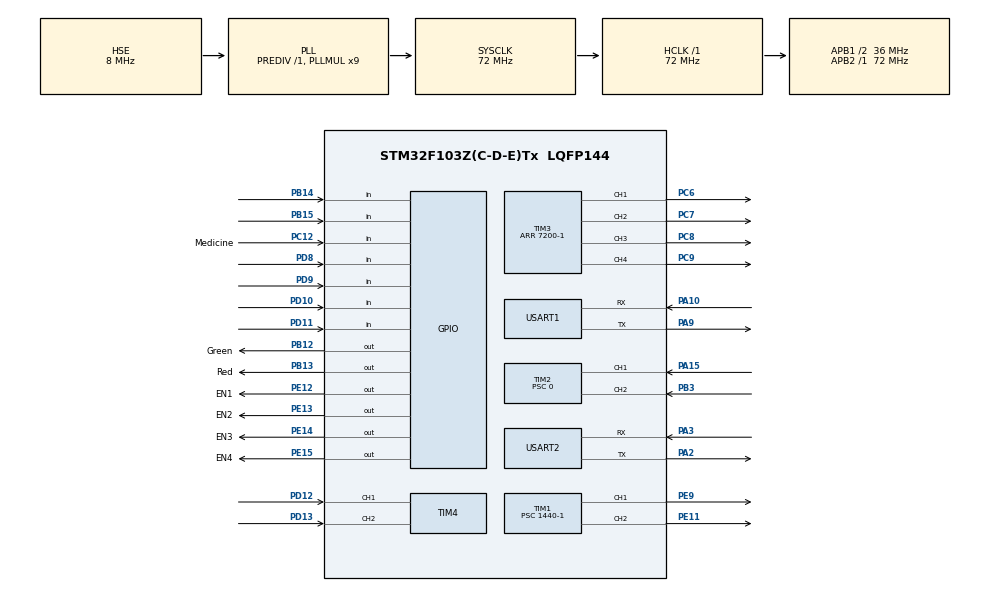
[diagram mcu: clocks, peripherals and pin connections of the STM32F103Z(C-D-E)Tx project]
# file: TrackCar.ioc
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Mcu.Family=STM32F1
Mcu.Name=STM32F103Z(C-D-E)Tx
Mcu.Package=LQFP144
NVIC.PriorityGroup=NVIC_PRIORITYGROUP_4
NVIC.TIM6_IRQn=true\:1\:0\:true\:false\:true\:true\:true
NVIC.USART2_IRQn=true\:0\:0\:false\:false\:true\:true\:true
OSC_IN.Mode=HSE-External-Oscillator
OSC_IN.Signal=RCC_OSC_IN
OSC_OUT.Mode=HSE-External-Oscillator
OSC_OUT.Signal=RCC_OSC_OUT
PA10.Mode=Asynchronous
PA10.Signal=USART1_RX
PA13.Mode=Serial_Wire
PA13.Signal=SYS_JTMS-SWDIO
PA14.Mode=Serial_Wire
PA14.Signal=SYS_JTCK-SWCLK
PA15.Signal=S_TIM2_CH1_ETR
PA2.Mode=Asynchronous
PA2.Signal=USART2_TX
PA3.Mode=Asynchronous
PA3.Signal=USART2_RX
PA9.Mode=Asynchronous
PA9.Signal=USART1_TX
PB12.GPIO_Label=Green
PB12.GPIO_Speed=GPIO_SPEED_FREQ_LOW
PB12.PinState=GPIO_PIN_SET
PB12.Signal=GPIO_Output
PB13.GPIO_Label=Red
PB13.PinState=GPIO_PIN_SET
PB13.Signal=GPIO_Output
PB14.Signal=GPIO_Input
PB15.Signal=GPIO_Input
PB3.Signal=S_TIM2_CH2
PC12.GPIO_Label=Medicine
PC12.Signal=GPIO_Input
PC14-OSC32_IN.Mode=LSE-External-Oscillator
PC14-OSC32_IN.Signal=RCC_OSC32_IN
PC15-OSC32_OUT.Mode=LSE-External-Oscillator
PC15-OSC32_OUT.Signal=RCC_OSC32_OUT
PC6.Signal=S_TIM3_CH1
PC7.Signal=S_TIM3_CH2
PC8.Signal=S_TIM3_CH3
PC9.Signal=S_TIM3_CH4
PD10.Signal=GPIO_Input
PD11.Signal=GPIO_Input
PD12.Signal=S_TIM4_CH1
PD13.Signal=S_TIM4_CH2
PD8.Signal=GPIO_Input
PD9.Signal=GPIO_Input
PE11.Signal=S_TIM1_CH2
PE12.GPIO_Label=EN1
PE12.Signal=GPIO_Output
PE13.GPIO_Label=EN2
PE13.Signal=GPIO_Output
PE14.GPIO_Label=EN3
PE14.Signal=GPIO_Output
PE15.GPIO_Label=EN4
PE15.Signal=GPIO_Output
PE9.Signal=S_TIM1_CH1
ProjectManager.HeapSize=0x200
ProjectManager.StackSize=0x400
ProjectManager.TargetToolchain=SW4STM32
RCC.AHBFreq_Value=72000000
RCC.APB1CLKDivider=RCC_HCLK_DIV2
RCC.APB1Freq_Value=36000000
RCC.APB1TimFreq_Value=72000000
RCC.APB2Freq_Value=72000000
RCC.APB2TimFreq_Value=72000000
RCC.HCLKFreq_Value=72000000
RCC.PLLMUL=RCC_PLL_MUL9
RCC.PLLSourceVirtual=RCC_PLLSOURCE_HSE
RCC.SYSCLKFreq_VALUE=72000000
RCC.SYSCLKSource=RCC_SYSCLKSOURCE_PLLCLK
RCC.USBFreq_Value=72000000
SH.S_TIM1_CH1.0=TIM1_CH1,PWM Generation1 CH1
SH.S_TIM1_CH2.0=TIM1_CH2,PWM Generation2 CH2
SH.S_TIM2_CH1_ETR.0=TIM2_CH1,Encoder_Interface
SH.S_TIM2_CH2.0=TIM2_CH2,Encoder_Interface
SH.S_TIM3_CH1.0=TIM3_CH1,PWM Generation1 CH1
SH.S_TIM3_CH2.0=TIM3_CH2,PWM Generation2 CH2
SH.S_TIM3_CH3.0=TIM3_CH3,PWM Generation3 CH3
SH.S_TIM3_CH4.0=TIM3_CH4,PWM Generation4 CH4
SH.S_TIM4_CH1.0=TIM4_CH1,Encoder_Interface
SH.S_TIM4_CH2.0=TIM4_CH2,Encoder_Interface
TIM1.Channel-PWM\ Generation1\ CH1=TIM_CHANNEL_1
TIM1.Channel-PWM\ Generation2\ CH2=TIM_CHANNEL_2
TIM1.Period=1000-1
TIM1.Prescaler=1440-1
TIM1.Pulse-PWM\ Generation1\ CH1=75
TIM2.EncoderMode=TIM_ENCODERMODE_TI12
TIM2.Prescaler=0
TIM3.Channel-PWM\ Generation1\ CH1=TIM_CHANNEL_1
TIM3.Channel-PWM\ Generation2\ CH2=TIM_CHANNEL_2
TIM3.Channel-PWM\ Generation3\ CH3=TIM_CHANNEL_3
TIM3.Channel-PWM\ Generation4\ CH4=TIM_CHANNEL_4
TIM3.Period=7200-1
TIM4.EncoderMode=TIM_ENCODERMODE_TI12
TIM6.Period=1000
TIM6.Prescaler=72
USART1.VirtualMode=VM_ASYNC
USART2.VirtualMode=VM_ASYNC
VP_TIM6_VS_ClockSourceINT.Mode=Enable_Timer
board=custom

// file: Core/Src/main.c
/* USER CODE BEGIN Header */
/**
  ******************************************************************************
  * @file           : main.c
  * @brief          : Main program body
  ******************************************************************************
  * @attention
  *
  * <h2><center>&copy; Copyright (c) 2021 STMicroelectronics.
  * All rights reserved.</center></h2>
  *
  * This software component is licensed by ST under BSD 3-Clause license,
  * the "License"; You may not use this file except in compliance with the
  * License. You may obtain a copy of the License at:
  *                        opensource.org/licenses/BSD-3-Clause
  *
  ******************************************************************************
  */
/* USER CODE END Header */
#include "main.h"
#include "tim.h"
#include "usart.h"
#include "gpio.h"

/* USER CODE BEGIN Includes */
#include "control.h"
#include "OpenmvData.h"

/* USER CODE END Includes */

/* USER CODE BEGIN PTD */
//系统运行时间计数，，开机后开始计数，每秒增1
unsigned short  g_RunTime = 0;

/* USER CODE END PTD */

/* USER CODE BEGIN PV */
void SecTask();
/* USER CODE END PV */

void SystemClock_Config(void);

int main(void)
{
  /* USER CODE BEGIN 1 */
    static uint8_t Lock_Phoht = 0; //锁定次数
    static uint8_t Lock_Num = 0; //
    static uint8_t Lock_Tag = 0; //
  /* USER CODE END 1 */

  /* MCU Configuration--------------------------------------------------------*/

  /* Reset of all peripherals, Initializes the Flash interface and the Systick. */
  HAL_Init();

  /* Configure the system clock */
  SystemClock_Config();

  /* Initialize all configured peripherals */
  MX_GPIO_Init();
  MX_TIM1_Init();
  MX_TIM2_Init();
  MX_TIM3_Init();
  MX_TIM4_Init();
  MX_USART1_UART_Init();
  MX_TIM6_Init();
  MX_USART2_UART_Init();
  /* USER CODE BEGIN 2 */
  mystdioInit(&huart1);//printf初始化

  HAL_UART_Receive_IT(&huart2,(uint8_t *)UART2_temp,REC_LENGTH);

  HAL_TIM_PWM_Start(&htim3,TIM_CHANNEL_1); //一定要手动开启！！！！
  HAL_TIM_PWM_Start(&htim3,TIM_CHANNEL_2); //一定要手动开启！！！！
  HAL_TIM_PWM_Start(&htim3,TIM_CHANNEL_3); //打开TIM3的四个通道
  HAL_TIM_PWM_Start(&htim3,TIM_CHANNEL_4); //一定要手动开启！！！！

  HAL_TIM_PWM_Start(&htim1,TIM_CHANNEL_1);//打开舵机PWM通道
  HAL_TIM_PWM_Start(&htim1,TIM_CHANNEL_2);//打开相机PWM通道
  HAL_TIM_Encoder_Start(&htim4, TIM_CHANNEL_ALL);//开启TIM4的编码器接口模式
  HAL_TIM_Encoder_Start(&htim2, TIM_CHANNEL_ALL);//开启TIM2的编码器接口模式
            __HAL_TIM_SetCompare(&htim1, TIM_CHANNEL_2, 75);//输出小车角度值
            __HAL_TIM_SetCompare(&htim1, TIM_CHANNEL_1, 65);//输出相机角度值  默认看右
  //HAL_TIM_Base_Start_IT(&htim6);  // 开启定时器更新中断

//      SpeedTarget = 200;                              //速度设置（巡线要快 抢时间）

  /* USER CODE END 2 */

  /* Infinite loop */
  /* USER CODE BEGIN WHILE */
  while (1)
  {

//              __HAL_TIM_SetCompare(&htim1, TIM_CHANNEL_2, 45);//输出小车角度值
//              __HAL_TIM_SetCompare(&htim1, TIM_CHANNEL_1, 76);//输出相机角度值     左
//      HAL_Delay(1000);
//              __HAL_TIM_SetCompare(&htim1, TIM_CHANNEL_2, 75);//输出小车角度值     中
//              __HAL_TIM_SetCompare(&htim1, TIM_CHANNEL_1, 65);//输出相机角度值
//      HAL_Delay(1000);
//              __HAL_TIM_SetCompare(&htim1, TIM_CHANNEL_2, 100);//输出小车角度值
//              __HAL_TIM_SetCompare(&htim1, TIM_CHANNEL_1, 65);//输出相机角度值     右
//      HAL_Delay(1000);
      if(OpenmvData())                         //判断串口（摄像头检测到那个数字）
      {
/*          if(UART2_Rx_flg == 1)
          {
              if(Lock_Phoht  != Xdate)      //连续三次数据一样确认数据
              {
                  Lock_Phoht  = Xdate;
                  Lock_Num = 0;
              }
              else if(Lock_Phoht == Xdate)      //连续三次数据一样确认数据
              {
                  Lock_Num +=1;
              }
              if(Lock_Num >3)
              {
              */
                  Lock_Tag = Xdate;
//             }
              UART2_Rx_cnt = 0;
              UART2_Rx_flg=0;
//           }

          HAL_Delay(500);
          switch (Lock_Tag)                //输入数字进行选择
          {
              case 1:
                  BaseOne();        //数字一       && 同时检测药物是否装上
              case 2:
                  BaseTwo();        //数字二
              case 3:
                  BaseThree();      //数字    //345678通用代码
              case 4:
                  BaseThree();      //数字
              case 5:
                  BaseThree();      //数字
              case 6:
                  BaseThree();      //数字
              case 7:
                  BaseThree();      //数字
              case 8:
                  BaseThree();      //数字
          }
      }
    /* USER CODE END WHILE */

  }
}

void SystemClock_Config(void)
{
  RCC_OscInitTypeDef RCC_OscInitStruct = {0};
  RCC_ClkInitTypeDef RCC_ClkInitStruct = {0};

  /** Initializes the RCC Oscillators according to the specified parameters
  * in the RCC_OscInitTypeDef structure.
  */
  RCC_OscInitStruct.OscillatorType = RCC_OSCILLATORTYPE_HSE;
  RCC_OscInitStruct.HSEState = RCC_HSE_ON;
  RCC_OscInitStruct.HSEPredivValue = RCC_HSE_PREDIV_DIV1;
  RCC_OscInitStruct.HSIState = RCC_HSI_ON;
  RCC_OscInitStruct.PLL.PLLState = RCC_PLL_ON;
  RCC_OscInitStruct.PLL.PLLSource = RCC_PLLSOURCE_HSE;
  RCC_OscInitStruct.PLL.PLLMUL = RCC_PLL_MUL9;
  if (HAL_RCC_OscConfig(&RCC_OscInitStruct) != HAL_OK)
  {
    Error_Handler();
  }
  /** Initializes the CPU, AHB and APB buses clocks
  */
  RCC_ClkInitStruct.ClockType = RCC_CLOCKTYPE_HCLK|RCC_CLOCKTYPE_SYSCLK
                              |RCC_CLOCKTYPE_PCLK1|RCC_CLOCKTYPE_PCLK2;
  RCC_ClkInitStruct.SYSCLKSource = RCC_SYSCLKSOURCE_PLLCLK;
  RCC_ClkInitStruct.AHBCLKDivider = RCC_SYSCLK_DIV1;
  RCC_ClkInitStruct.APB1CLKDivider = RCC_HCLK_DIV2;
  RCC_ClkInitStruct.APB2CLKDivider = RCC_HCLK_DIV1;

  if (HAL_RCC_ClockConfig(&RCC_ClkInitStruct, FLASH_LATENCY_2) != HAL_OK)
  {
    Error_Handler();
  }
}

void Error_Handler(void)
{
  __disable_irq();
  while (1)
  {
  }
}

/************************ (C) COPYRIGHT STMicroelectronics *****END OF FILE****/
